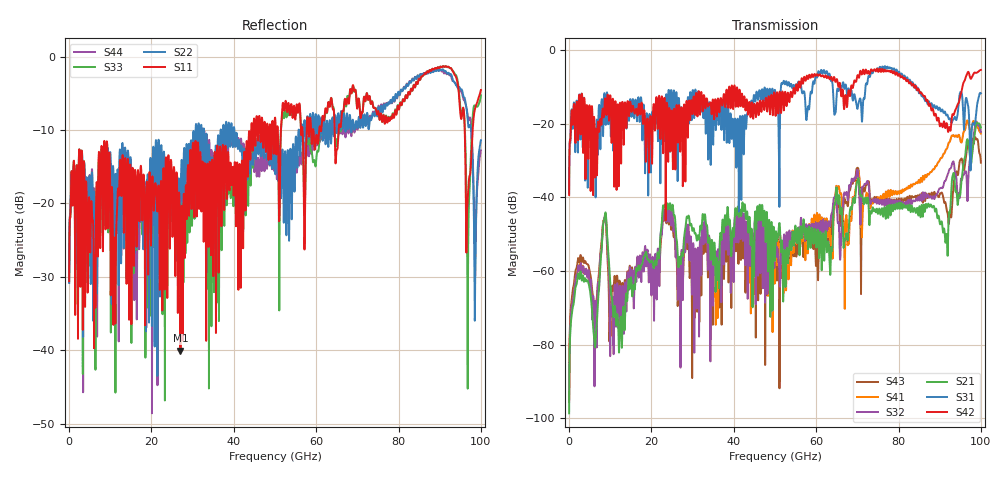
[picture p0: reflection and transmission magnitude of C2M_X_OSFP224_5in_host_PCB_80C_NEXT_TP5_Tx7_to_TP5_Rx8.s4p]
# GHz S RI R 45
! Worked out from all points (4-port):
!   4000 points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, 25 MHz to 100 GHz, reference 45 ohm
!   strongest paths, dB at 25 MHz, 25.02 GHz, 50.02 GHz, 75.03 GHz, 100 GHz:
!     S42: -39.3, -17.9, -14.5, -5.7, -5.4
!     S31: -39.0, -15.9, -10.9, -5.2, -11.7
!     S21: -98.7, -42.5, -55.7, -44.5, -21.1
!     S32: -95.0, -44.4, -51.8, -40.5, -22.2
!     S41: -95.6, -44.7, -55.4, -40.0, -22.7
!     S43: -93.3, -47.3, -54.2, -40.8, -30.6
!   lowest |S11| = -40.1 dB at 27.05 GHz (marker M1), VSWR 1.02, Z = 45.8 - j0.496 ohm
!   |S11| at or under -10 dB: start of sweep to 44.22 GHz; 59.34 GHz to 60.74 GHz (1.403 GHz wide, 2.34 % of centre); 96.08 GHz to 98.01 GHz (1.929 GHz wide, 1.99 % of centre) (the widest 3 of 20)
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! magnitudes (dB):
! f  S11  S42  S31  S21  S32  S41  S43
! 25 MHz  -30.6  -39.3  -39.0  -98.7  -95.0  -95.6  -93.3
! 6.375 GHz  -32.3  -32.4  -29.3  -80.4  -69.4  -74.7  -70.2
! 8.575 GHz  -11.5  -15.7  -11.7  -46.0  -45.7  -46.0  -46.0
! 12.45 GHz  -14.1  -15.0  -17.4  -73.8  -65.1  -68.4  -64.4
! 27.05 GHz  -40.1  -25.5  -20.4  -57.3  -69.8  -60.0  -70.9
! 91.58 GHz  -1.3  -20.2  -17.7  -50.4  -35.0  -26.9  -42.7
! 100 GHz  -4.6  -5.4  -11.7  -21.1  -22.2  -22.7  -30.6
